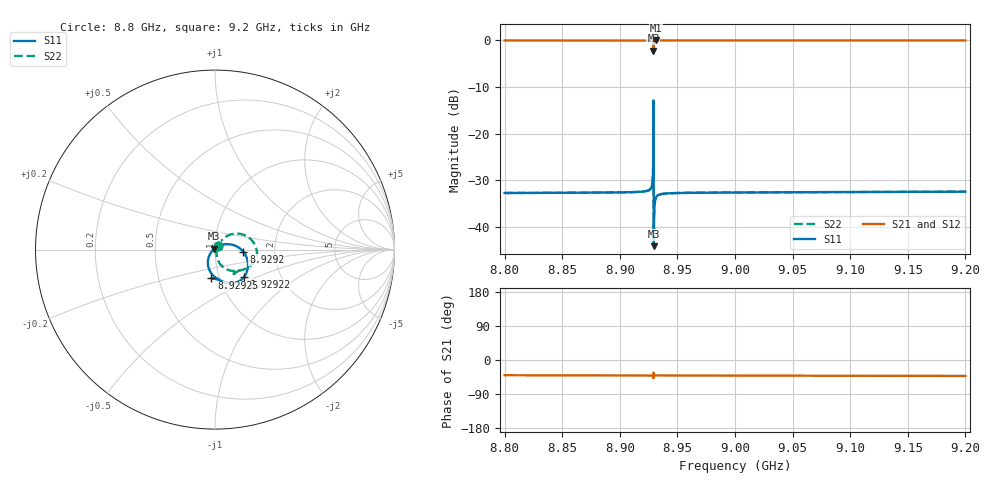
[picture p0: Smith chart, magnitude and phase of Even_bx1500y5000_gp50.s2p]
! Sonnet Data File
! From: emgraph Version : 16.52
! From Project: Resonator2
! Data is De-embedded
! Data File Written: 10/04/2017 18:31:04
!< HDATE 10/04/2017 15:54:54
!< MDATE 10/04/2017 15:55:28
!< PARAMS
!< gap = 50.0
!< Length = 400.0
!< END PARAMS
# GHZ S MA R 50.00000
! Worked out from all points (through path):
!   2194 points, 8.8 GHz to 9.2 GHz, reference 50 ohm
!   highest |S21| = 0.00 dB at 8.93131 GHz (marker M1); lowest = -2.2 dB at 8.92923 GHz (marker M2)
!   group delay of S21, straight-line fit = 12.4 ps
!   lowest |S11| = -44.2 dB at 8.9295 GHz (marker M3), VSWR 1.01, Z = 49.6 + j0.476 ohm
!   |S11| at or under -10 dB: start of sweep to end of sweep
!   |S22| runs from -40.2 to -12.5 dB; largest |S21 - S12| = 0
!   S11 on the Smith chart (normalised r, x): 8.8 GHz: 1.03, +0.04; 8.9292 GHz: 1.38, -0.03; 8.92922 GHz: 1.31, -0.42; 8.92925 GHz: 0.91, -0.30; 9.2 GHz: 1.03, +0.04
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8.8  0.02301 49.6  0.9997 -40.3  0.9997 -40.3  0.02301 49.8
!< P1 F=8.8 Eeff=(6.44890994 -2.9739e-5) Z0=(51.8068348 1.19496e-4) R=0.0 C=0.0
!< P2 F=8.8 Eeff=(6.44890994 -2.9739e-5) Z0=(51.8068348 1.19496e-4) R=0.0 C=0.0
8.86675  0.0232 49.3  0.9997 -40.6  0.9997 -40.6  0.0232 49.6
8.926471  0.02531 47.2  0.9997 -41.0  0.9997 -41.0  0.02532 50.8
8.928748  0.03524 40.3  0.9988 -41.6  0.9988 -41.6  0.03548 54.8
8.929058  0.05679 30.6  0.9942 -42.9  0.9942 -42.9  0.05798 55.4
8.929139  0.08525 20.6  0.9817 -44.5  0.9817 -44.5  0.08794 51.1
8.929196  0.1586 -4.5  0.9123 -47.8  0.9123 -47.8  0.1657 31.9
8.929222  0.2225 -43.5  0.783 -44.2  0.783 -44.2  0.2344 -3.7
8.929226  0.2229 -50.7  0.7746 -42.3  0.7746 -42.3  0.2352 -10.4
8.92925  0.1602 -97.2  0.8704 -33.3  0.8704 -33.3  0.1707 -53.0
8.929321  0.04393 -134.8  0.9813 -37.2  0.9813 -37.2  0.04993 -75.8
8.929398  0.01485 -160.3  0.9946 -38.8  0.9946 -38.8  0.01971 -66.0
8.92945  0.007886 170.2  0.9969 -39.3  0.9969 -39.3  0.01261 -47.4
8.929499  0.006181 129.2  0.998 -39.6  0.998 -39.6  0.01012 -24.7
8.929756  0.01268 66.2  0.9994 -40.2  0.9994 -40.2  0.0133 30.0
8.930018  0.0161 58.5  0.9997 -40.4  0.9997 -40.4  0.01631 39.4
8.931309  0.0205 52.0  0.9998 -40.7  0.9998 -40.7  0.02053 46.4
8.933357  0.02186 50.5  0.9998 -40.8  0.9998 -40.8  0.02187 47.9
9  0.02331 48.8  0.9997 -41.2  0.9997 -41.2  0.02331 48.8
9.06675  0.02349 48.5  0.9997 -41.5  0.9997 -41.5  0.02349 48.5
9.1335  0.02364 48.2  0.9997 -41.8  0.9997 -41.8  0.02364 48.2
9.2  0.02378 47.9  0.9997 -42.1  0.9997 -42.1  0.02378 47.9
